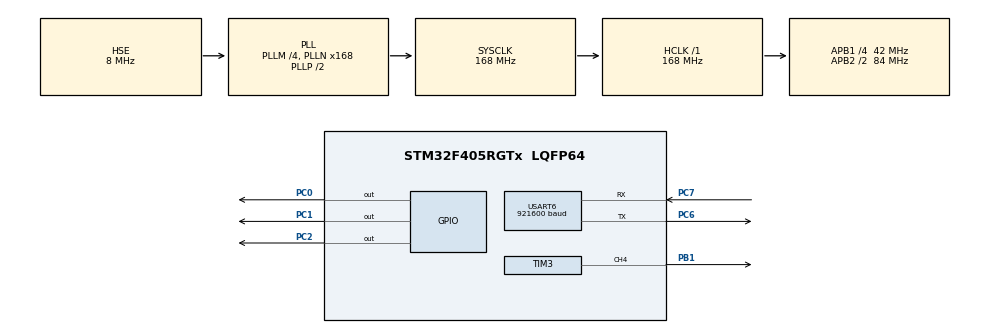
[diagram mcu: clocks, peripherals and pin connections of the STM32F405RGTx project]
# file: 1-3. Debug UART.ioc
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Mcu.Family=STM32F4
Mcu.Name=STM32F405RGTx
Mcu.Package=LQFP64
NVIC.PriorityGroup=NVIC_PRIORITYGROUP_4
NVIC.USART6_IRQn=true\:0\:0\:false\:false\:true\:true\:true\:true
PB1.Signal=S_TIM3_CH4
PC0.Signal=GPIO_Output
PC1.Signal=GPIO_Output
PC2.Signal=GPIO_Output
PC6.Mode=Asynchronous
PC6.Signal=USART6_TX
PC7.Mode=Asynchronous
PC7.Signal=USART6_RX
PH0-OSC_IN.Mode=HSE-External-Oscillator
PH0-OSC_IN.Signal=RCC_OSC_IN
PH1-OSC_OUT.Mode=HSE-External-Oscillator
PH1-OSC_OUT.Signal=RCC_OSC_OUT
ProjectManager.HeapSize=0x200
ProjectManager.StackSize=0x400
ProjectManager.TargetToolchain=STM32CubeIDE
RCC.48MHZClocksFreq_Value=84000000
RCC.AHBFreq_Value=168000000
RCC.APB1CLKDivider=RCC_HCLK_DIV4
RCC.APB1Freq_Value=42000000
RCC.APB1TimFreq_Value=84000000
RCC.APB2CLKDivider=RCC_HCLK_DIV2
RCC.APB2Freq_Value=84000000
RCC.APB2TimFreq_Value=168000000
RCC.CortexFreq_Value=168000000
RCC.HCLKFreq_Value=168000000
RCC.HSE_VALUE=8000000
RCC.HSI_VALUE=16000000
RCC.LSE_VALUE=32768
RCC.PLLM=4
RCC.PLLN=168
RCC.PLLSourceVirtual=RCC_PLLSOURCE_HSE
RCC.SYSCLKFreq_VALUE=168000000
RCC.SYSCLKSource=RCC_SYSCLKSOURCE_PLLCLK
RCC.VCOOutputFreq_Value=336000000
SH.S_TIM3_CH4.0=TIM3_CH4,PWM Generation4 CH4
TIM3.AutoReloadPreload=TIM_AUTORELOAD_PRELOAD_ENABLE
TIM3.Channel-PWM\ Generation4\ CH4=TIM_CHANNEL_4
TIM3.OCFastMode_PWM-PWM\ Generation4\ CH4=TIM_OCFAST_ENABLE
TIM3.Period=20
TIM3.Prescaler=999
TIM3.Pulse-PWM\ Generation4\ CH4=10
USART6.BaudRate=921600
USART6.VirtualMode=VM_ASYNC
VP_TIM3_VS_ClockSourceINT.Mode=Internal
board=custom

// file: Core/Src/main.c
/* USER CODE BEGIN Header */
/**
  ******************************************************************************
  * @file           : main.c
  * @brief          : Main program body
  ******************************************************************************
  * @attention
  *
  * Copyright (c) 2023 STMicroelectronics.
  * All rights reserved.
  *
  * This software is licensed under terms that can be found in the LICENSE file
  * in the root directory of this software component.
  * If no LICENSE file comes with this software, it is provided AS-IS.
  *
  ******************************************************************************
  */
/* USER CODE END Header */
#include "main.h"
#include "tim.h"
#include "usart.h"
#include "gpio.h"

/* USER CODE BEGIN PTD */
int _write(int file, char* p, int len){
	for(int i = 0; i < len; i++){
		LL_USART_TransmitData8(USART6, *(p + i));
		HAL_Delay(1);
	}
	return len;
}
/* USER CODE END PTD */

/* USER CODE BEGIN PV */
extern uint8_t uart6_rx_flag;
extern uint8_t uart6_rx_data;
/* USER CODE END PV */

void SystemClock_Config(void);

int main(void)
{
  /* USER CODE BEGIN 1 */
	int count = 0;
	float abc = 1.234;
  /* USER CODE END 1 */

  /* MCU Configuration--------------------------------------------------------*/

  /* Reset of all peripherals, Initializes the Flash interface and the Systick. */
  HAL_Init();

  /* Configure the system clock */
  SystemClock_Config();

  /* Initialize all configured peripherals */
  MX_GPIO_Init();
  MX_TIM3_Init();
  MX_USART6_UART_Init();
  /* USER CODE BEGIN 2 */
  LL_TIM_EnableCounter(TIM3);
  LL_TIM_CC_EnableChannel(TIM3, LL_TIM_CHANNEL_CH4);
  TIM3->PSC = 2000;
  HAL_Delay(100);
  TIM3->PSC = 1500;
  HAL_Delay(100);
  TIM3->PSC = 1000;
  HAL_Delay(100);
  LL_TIM_CC_DisableChannel(TIM3, LL_TIM_CHANNEL_CH4);

  LL_USART_EnableIT_RXNE(USART6);
  /* USER CODE END 2 */

  /* Infinite loop */
  /* USER CODE BEGIN WHILE */
  while (1)
  {
//	  if(uart6_rx_flag == 1){
//		  LL_USART_TransmitData8(USART6, uart6_rx_data);
//		  uart6_rx_flag = 0;
//
//		  if(uart6_rx_data == 0){
//			  LL_GPIO_TogglePin(GPIOC, LL_GPIO_PIN_0 | LL_GPIO_PIN_1 | LL_GPIO_PIN_2);
//		  }
//		  else if(uart6_rx_data == 1){
//			  LL_TIM_CC_EnableChannel(TIM3, LL_TIM_CHANNEL_CH4);
//		  }
//		  else if(uart6_rx_data == 2){
//			  LL_TIM_CC_DisableChannel(TIM3, LL_TIM_CHANNEL_CH4);
//		  }
//	  }
	  printf("%d %f\n", count++, abc += 0.001);
	  HAL_Delay(1000);
    /* USER CODE END WHILE */

  }
}

void SystemClock_Config(void)
{
  RCC_OscInitTypeDef RCC_OscInitStruct = {0};
  RCC_ClkInitTypeDef RCC_ClkInitStruct = {0};

  /** Configure the main internal regulator output voltage
  */
  __HAL_RCC_PWR_CLK_ENABLE();
  __HAL_PWR_VOLTAGESCALING_CONFIG(PWR_REGULATOR_VOLTAGE_SCALE1);

  /** Initializes the RCC Oscillators according to the specified parameters
  * in the RCC_OscInitTypeDef structure.
  */
  RCC_OscInitStruct.OscillatorType = RCC_OSCILLATORTYPE_HSE;
  RCC_OscInitStruct.HSEState = RCC_HSE_ON;
  RCC_OscInitStruct.PLL.PLLState = RCC_PLL_ON;
  RCC_OscInitStruct.PLL.PLLSource = RCC_PLLSOURCE_HSE;
  RCC_OscInitStruct.PLL.PLLM = 4;
  RCC_OscInitStruct.PLL.PLLN = 168;
  RCC_OscInitStruct.PLL.PLLP = RCC_PLLP_DIV2;
  RCC_OscInitStruct.PLL.PLLQ = 4;
  if (HAL_RCC_OscConfig(&RCC_OscInitStruct) != HAL_OK)
  {
    Error_Handler();
  }

  /** Initializes the CPU, AHB and APB buses clocks
  */
  RCC_ClkInitStruct.ClockType = RCC_CLOCKTYPE_HCLK|RCC_CLOCKTYPE_SYSCLK
                              |RCC_CLOCKTYPE_PCLK1|RCC_CLOCKTYPE_PCLK2;
  RCC_ClkInitStruct.SYSCLKSource = RCC_SYSCLKSOURCE_PLLCLK;
  RCC_ClkInitStruct.AHBCLKDivider = RCC_SYSCLK_DIV1;
  RCC_ClkInitStruct.APB1CLKDivider = RCC_HCLK_DIV4;
  RCC_ClkInitStruct.APB2CLKDivider = RCC_HCLK_DIV2;

  if (HAL_RCC_ClockConfig(&RCC_ClkInitStruct, FLASH_LATENCY_5) != HAL_OK)
  {
    Error_Handler();
  }
}

void Error_Handler(void)
{
  __disable_irq();
  while (1)
  {
  }
}
